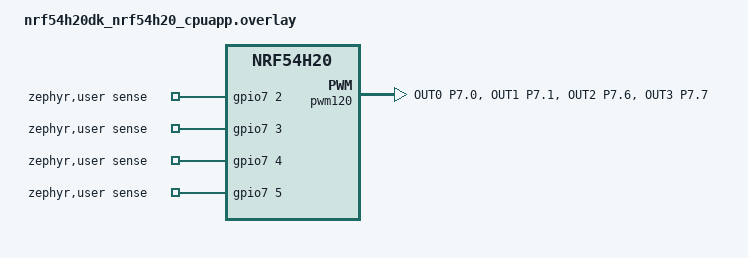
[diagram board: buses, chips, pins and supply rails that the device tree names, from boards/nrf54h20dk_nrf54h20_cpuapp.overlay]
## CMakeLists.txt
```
# SPDX-License-Identifier: Apache-2.0

cmake_minimum_required(VERSION 3.20.0)
find_package(Zephyr REQUIRED HINTS $ENV{ZEPHYR_BASE})
project(pwm_cache_loopback)

target_sources(app PRIVATE src/main.c)
```

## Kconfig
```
# SPDX-License-Identifier: Apache-2.0

mainmenu "PWM cache loopback sample"

config SAMPLE_PAD_SIZE
	int "Size of the pad placed before the driver's sequence buffer [bytes]"
	default 28
	help
	  The pad shifts the pwm_nrfx sequence buffer (4 x uint16_t) inside the PWM DMA region.
	  With the 32-byte cache line and the pad of 28 bytes the buffer starts at offset 28 of
	  a line: channels 0-1 end up in one line and channels 2-3 in the next one.
	  Must be a multiple of 4. If the driver's buffer is not at the end of the pad (check
	  zephyr.map), the sample reports it and exits.

source "Kconfig.zephyr"
```

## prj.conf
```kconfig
CONFIG_PWM=y
CONFIG_CACHE_MANAGEMENT=y
CONFIG_DCACHE=y
CONFIG_PRINTK=y
CONFIG_SERIAL=y
CONFIG_CONSOLE=y
CONFIG_UART_CONSOLE=y
CONFIG_GPIO=y
```

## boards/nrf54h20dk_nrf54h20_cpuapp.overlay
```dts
/*
 * PWM120 with its sequence in the cacheable dma_fast_region.
 * PWM_OUT0..3 on P7.0, P7.1, P7.6, P7.7 (the only P7 pins PWM120 can use).
 * P7.2..P7.5 are plain inputs used to sense them.
 */
/ {
	aliases {
		pwm-test = &pwm120;
	};
};

&pinctrl {
	pwm120_loop_default: pwm120_loop_default {
		group1 {
			psels = <NRF_PSEL(PWM_OUT0, 7, 0)>,
				<NRF_PSEL(PWM_OUT1, 7, 1)>,
				<NRF_PSEL(PWM_OUT2, 7, 6)>,
				<NRF_PSEL(PWM_OUT3, 7, 7)>;
		};
	};

	pwm120_loop_sleep: pwm120_loop_sleep {
		group1 {
			psels = <NRF_PSEL(PWM_OUT0, 7, 0)>,
				<NRF_PSEL(PWM_OUT1, 7, 1)>,
				<NRF_PSEL(PWM_OUT2, 7, 6)>,
				<NRF_PSEL(PWM_OUT3, 7, 7)>;
			low-power-enable;
		};
	};
};

&dma_fast_region {
	status = "okay";
};

&gpio7 {
	status = "okay";
};

&pwm120 {
	pinctrl-0 = <&pwm120_loop_default>;
	pinctrl-1 = <&pwm120_loop_sleep>;
	pinctrl-names = "default", "sleep";
	memory-regions = <&dma_fast_region>;
	status = "okay";
};

/* Declaring the sense pins here makes the UICR PERIPHCONF generator grant the application
 * core access to P7.2..P7.5 (SPU permissions); pins without a user are left inaccessible.
 */
/ {
	zephyr,user {
		sense-gpios = <&gpio7 2 GPIO_ACTIVE_HIGH>, <&gpio7 3 GPIO_ACTIVE_HIGH>,
			      <&gpio7 4 GPIO_ACTIVE_HIGH>, <&gpio7 5 GPIO_ACTIVE_HIGH>;
	};
};
```

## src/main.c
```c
#include <stdlib.h>
#include <zephyr/kernel.h>
#include <zephyr/device.h>
#include <zephyr/cache.h>
#include <zephyr/drivers/gpio.h>
#include <zephyr/drivers/pwm.h>
#include <zephyr/linker/devicetree_regions.h>

#define PWM_NODE	DT_ALIAS(pwm_test)
#define DMA_REGION	DT_PHANDLE(PWM_NODE, memory_regions)
#define CHANNELS	4
#define PERIOD		PWM_MSEC(1)
#define SAMPLES		50000
#define TOLERANCE_PCT	5
/* Compare value (~41 % of the 20000-tick period) that is not requested for any channel. */
#define POISON		(0x8000 | 8192)

/* The linker sorts the region by alignment: this align-4 pad comes before the driver's
 * align-2 sequence buffer, which therefore starts right after it.
 */
static volatile uint32_t pad[CONFIG_SAMPLE_PAD_SIZE / 4] __used
	__attribute__((section(LINKER_DT_NODE_REGION_NAME(DMA_REGION))));

static const struct device *const pwm = DEVICE_DT_GET(PWM_NODE);
static const struct device *const gpio = DEVICE_DT_GET(DT_NODELABEL(gpio7));

/* P7 input pin that senses each PWM channel, and the duty cycle requested for it. */
static const uint8_t sense_pin[CHANNELS] = {4, 5, 2, 3};
static const uint32_t duty_pct[CHANNELS] = {25, 50, 75, 10};

int main(void)
{
	volatile uint16_t *seq = (volatile uint16_t *)((uintptr_t)pad + sizeof(pad));
	uint32_t high[CHANNELS] = {0};
	int failed = 0;

	if (!device_is_ready(pwm) || !device_is_ready(gpio)) {
		printk("PWM or GPIO device not ready\n");
		return 0;
	}

	for (int ch = 0; ch < CHANNELS; ch++) {
		gpio_pin_configure(gpio, sense_pin[ch], GPIO_INPUT);
	}

	/* RAM survives a reset, so it may still hold the values requested below by a previous
	 * run. Put a value that is requested for no channel into RAM; this is what the PWM
	 * reads for every channel whose update is not flushed.
	 */
	for (int ch = 0; ch < CHANNELS; ch++) {
		seq[ch] = POISON;
	}
	sys_cache_data_flush_range((void *)seq, CHANNELS * sizeof(seq[0]));

	/* A new playback request is ignored until the current period ends, so wait between calls. */
	for (int ch = 0; ch < CHANNELS; ch++) {
		int err = pwm_set(pwm, ch, PERIOD, PERIOD / 100 * duty_pct[ch], 0);

		if (err != 0) {
			printk("pwm_set(ch %d) failed: %d\n", ch, err);
			return 0;
		}
		k_msleep(5);
	}

	/* Check that the sequence buffer is where the pad assumes (the cached view shows what
	 * the driver wrote there).
	 */
	if (seq[0] == POISON || seq[0] == 0) {
		printk("Driver buffer is not right after the pad, adjust SAMPLE_PAD_SIZE\n");
		return 0;
	}
	printk("sequence buffer at %p\n", (void *)seq);

	for (int i = 0; i < SAMPLES; i++) {
		gpio_port_value_t v;

		gpio_port_get_raw(gpio, &v);
		for (int ch = 0; ch < CHANNELS; ch++) {
			high[ch] += (v >> sense_pin[ch]) & 1U;
		}
	}

	for (int ch = 0; ch < CHANNELS; ch++) {
		int measured = high[ch] * 100 / SAMPLES;
		bool ok = abs(measured - (int)duty_pct[ch]) <= TOLERANCE_PCT;

		printk("ch %d: expected %u%%, measured %d%% -> %s\n", ch, (unsigned int)duty_pct[ch],
		       measured, ok ? "OK" : "WRONG");
		failed += !ok;
	}

	printk("RESULT: %s\n", failed ? "FAIL" : "PASS");
	return 0;
}
```
